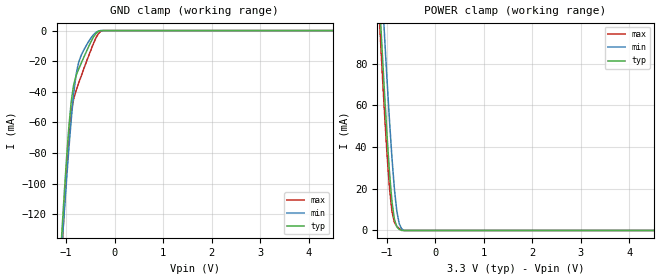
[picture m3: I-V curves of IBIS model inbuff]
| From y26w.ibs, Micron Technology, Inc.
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|   inbuff MODEL
[Model]   inbuff
Model_type   Input
Vinl = 800.000mV
Vinh = 2.000V
|   typ   min   max
C_comp   2.730pF   2.330pF   3.130pF
[Voltage Range]   3.300V   3.000V   3.600V
[Temperature Range]   25.0   85.0   0.0
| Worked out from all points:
|   GND clamp passes 1 mA (typ) near -0.36 V on its own axis
|   POWER clamp passes 1 mA (typ) near -0.76 V on its own axis
[GND Clamp]
|   Voltage   I(typ)   I(min)   I(max)
-3.3V     -1.39A     -1.259A    -1.578A
-1.1V     -137.1mA   NA         -150.9mA
-1.05V    -111.1mA   NA         -121.2mA
-990mV    -82.05mA   -96.08mA   -88.83mA
-940mV    -60.93mA   -74.89mA   -66.75mA
-900mV    -47.38mA   -59.26mA   -54.28mA
-850mV    -36.18mA   -42.36mA   -45.2mA
-800mV    -29.91mA   -29.63mA   NA
-750mV    -25.64mA   -21.6mA    NA
-550mV    -11.28mA   -7.77mA    NA
-340mV    -567.2uA   -349.4uA   -2.069mA
6.6V      0A         0A         0A
[POWER Clamp]
|   Voltage   I(typ)   I(min)   I(max)
-3.3V     1.18A      1.196A     1.182A
-1.15V    109.5mA    137.6mA    99.8mA
-1.14V    105mA      133.2mA    95.37mA
-1.09V    83.37mA    111.3mA    73.68mA
-1.05V    66.66mA    94.31mA    57.11mA
-950mV    29.36mA    54.34mA    21.7mA
-900mV    15.23mA    36.62mA    10.26mA
-850mV    6.232mA    21.52mA    4.499mA
-800mV    2.148mA    10.32mA    2.171mA
-750mV    640.8uA    3.815mA    1.059mA
-700mV    62.57uA    1.021mA    393.2uA
6.6V      0A         0A         0A
